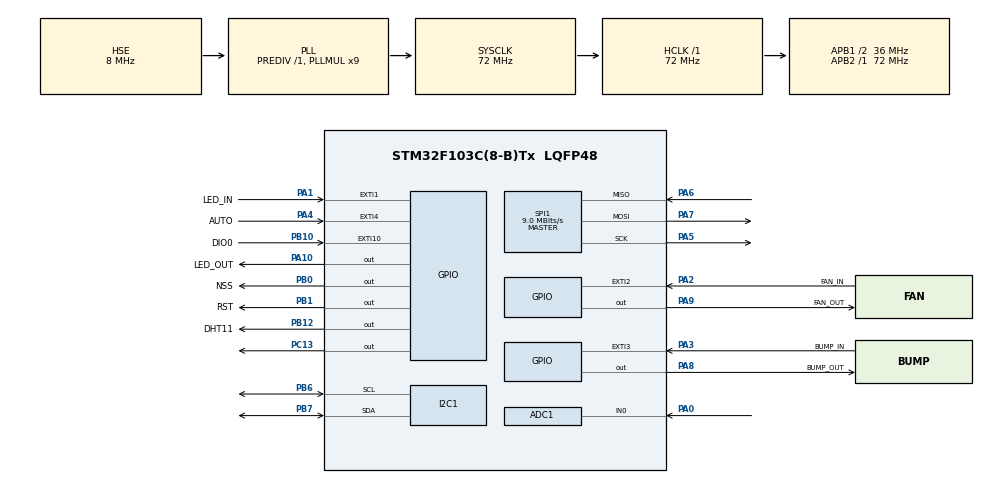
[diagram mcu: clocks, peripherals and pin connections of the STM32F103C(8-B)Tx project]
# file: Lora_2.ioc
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ADC1.Channel-0\#ChannelRegularConversion=ADC_CHANNEL_0
ADC1.ContinuousConvMode=ENABLE
ADC1.NbrOfConversionFlag=1
ADC1.Rank-0\#ChannelRegularConversion=1
ADC1.SamplingTime-0\#ChannelRegularConversion=ADC_SAMPLETIME_239CYCLES_5
ADC1.master=1
Dma.ADC1.0.Direction=DMA_PERIPH_TO_MEMORY
Dma.ADC1.0.Instance=DMA1_Channel1
Dma.ADC1.0.MemDataAlignment=DMA_MDATAALIGN_WORD
Dma.ADC1.0.MemInc=DMA_MINC_ENABLE
Dma.ADC1.0.Mode=DMA_CIRCULAR
Dma.ADC1.0.PeriphDataAlignment=DMA_PDATAALIGN_WORD
Dma.ADC1.0.PeriphInc=DMA_PINC_DISABLE
Dma.ADC1.0.Priority=DMA_PRIORITY_LOW
Dma.Request0=ADC1
I2C1.I2C_Mode=I2C_Fast
Mcu.Family=STM32F1
Mcu.Name=STM32F103C(8-B)Tx
Mcu.Package=LQFP48
NVIC.DMA1_Channel1_IRQn=true\:0\:0\:false\:false\:true\:false\:true\:true
NVIC.EXTI15_10_IRQn=true\:0\:0\:false\:false\:true\:true\:true\:true
NVIC.EXTI1_IRQn=true\:0\:0\:false\:false\:true\:true\:true\:true
NVIC.EXTI2_IRQn=true\:0\:0\:false\:false\:true\:true\:true\:true
NVIC.EXTI3_IRQn=true\:0\:0\:false\:false\:true\:true\:true\:true
NVIC.EXTI4_IRQn=true\:0\:0\:false\:false\:true\:true\:true\:true
NVIC.PriorityGroup=NVIC_PRIORITYGROUP_4
PA0-WKUP.Signal=ADCx_IN0
PA1.GPIO_Label=LED_IN
PA1.GPIO_ModeDefaultEXTI=GPIO_MODE_IT_RISING_FALLING
PA1.Signal=GPXTI1
PA10.GPIO_Label=LED_OUT
PA10.Signal=GPIO_Output
PA13.Mode=Serial_Wire
PA13.Signal=SYS_JTMS-SWDIO
PA14.Mode=Serial_Wire
PA14.Signal=SYS_JTCK-SWCLK
PA2.GPIO_Label=FAN_IN
PA2.GPIO_ModeDefaultEXTI=GPIO_MODE_IT_RISING_FALLING
PA2.Signal=GPXTI2
PA3.GPIO_Label=BUMP_IN
PA3.GPIO_ModeDefaultEXTI=GPIO_MODE_IT_RISING_FALLING
PA3.Signal=GPXTI3
PA4.GPIO_Label=AUTO
PA4.GPIO_ModeDefaultEXTI=GPIO_MODE_IT_RISING_FALLING
PA4.Signal=GPXTI4
PA5.Mode=Full_Duplex_Master
PA5.Signal=SPI1_SCK
PA6.Mode=Full_Duplex_Master
PA6.Signal=SPI1_MISO
PA7.Mode=Full_Duplex_Master
PA7.Signal=SPI1_MOSI
PA8.GPIO_Label=BUMP_OUT
PA8.Signal=GPIO_Output
PA9.GPIO_Label=FAN_OUT
PA9.Signal=GPIO_Output
PB0.GPIO_Label=NSS
PB0.PinState=GPIO_PIN_SET
PB0.Signal=GPIO_Output
PB1.GPIO_Label=RST
PB1.PinState=GPIO_PIN_SET
PB1.Signal=GPIO_Output
PB10.GPIO_Label=DIO0
PB10.Signal=GPXTI10
PB12.GPIO_Label=DHT11
PB12.Signal=GPIO_Output
PB6.Mode=I2C
PB6.Signal=I2C1_SCL
PB7.Mode=I2C
PB7.Signal=I2C1_SDA
PC13-TAMPER-RTC.Signal=GPIO_Output
PD0-OSC_IN.Mode=HSE-External-Oscillator
PD0-OSC_IN.Signal=RCC_OSC_IN
PD1-OSC_OUT.Mode=HSE-External-Oscillator
PD1-OSC_OUT.Signal=RCC_OSC_OUT
ProjectManager.HeapSize=0x200
ProjectManager.StackSize=0x400
ProjectManager.TargetToolchain=MDK-ARM V5.27
RCC.ADCPresc=RCC_ADCPCLK2_DIV6
RCC.AHBFreq_Value=72000000
RCC.APB1CLKDivider=RCC_HCLK_DIV2
RCC.APB1Freq_Value=36000000
RCC.APB1TimFreq_Value=72000000
RCC.APB2Freq_Value=72000000
RCC.APB2TimFreq_Value=72000000
RCC.HCLKFreq_Value=72000000
RCC.PLLMUL=RCC_PLL_MUL9
RCC.PLLSourceVirtual=RCC_PLLSOURCE_HSE
RCC.SYSCLKFreq_VALUE=72000000
RCC.SYSCLKSource=RCC_SYSCLKSOURCE_PLLCLK
RCC.USBFreq_Value=72000000
SH.ADCx_IN0.0=ADC1_IN0,IN0
SPI1.BaudRatePrescaler=SPI_BAUDRATEPRESCALER_8
SPI1.CalculateBaudRate=9.0 MBits/s
SPI1.Direction=SPI_DIRECTION_2LINES
SPI1.Mode=SPI_MODE_MASTER
SPI1.VirtualType=VM_MASTER
TIM4.Period=0xffff-1
TIM4.Prescaler=72-1
VP_TIM4_VS_ClockSourceINT.Mode=Internal
board=custom

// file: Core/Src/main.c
/* USER CODE BEGIN Header */
/**
  ******************************************************************************
  * @file           : main.c
  * @brief          : Main program body
  ******************************************************************************
  * @attention
  *
  * Copyright (c) 2022 STMicroelectronics.
  * All rights reserved.
  *
  * This software is licensed under terms that can be found in the LICENSE file
  * in the root directory of this software component.
  * If no LICENSE file comes with this software, it is provided AS-IS.
  *
  ******************************************************************************
  */
/* USER CODE END Header */
#include "main.h"

/* USER CODE BEGIN Includes */
#include "DHT.h"
#include "delay_timer.h"
#include "LoRa.h"
#include "i2c-lcd.h"
#include <stdio.h>
#include "EEPROM.h"
#include "BH1750.h"
/* USER CODE END Includes */

/* USER CODE BEGIN PD */
#define ID_Node 1
#define READ 	0
#define	WRITE	1
/* USER CODE END PD */

 ADC_HandleTypeDef hadc1;
DMA_HandleTypeDef hdma_adc1;

I2C_HandleTypeDef hi2c1;

SPI_HandleTypeDef hspi1;

TIM_HandleTypeDef htim4;

/* USER CODE BEGIN PV */
DHT_Name DHT1;

LoRa myLoRa;
uint8_t LoRa_stat = 0;

uint16_t HumiSoil;
uint32_t buffer;

uint8_t EEPROM_Data[10];

uint8_t receive_data[128];
uint8_t transmit_data[128];
uint8_t packet_size = 0;
uint8_t flgLoRa = 0;

uint16_t Lux;
uint8_t Lux_H;
uint8_t Lux_L;
uint8_t LuxUpper_H = 0;
uint8_t LuxUpper_L = 150;
uint8_t LuxLower_H = 0;
uint8_t LuxLower_L = 70;

uint8_t Auto=0;
uint8_t Bump=0;
uint8_t Fan=0;
uint8_t Led=0;
uint8_t TempUpper=30;
uint8_t	TempLower=20;
uint8_t HumiUpper=80;
uint8_t HumiLower=50;
uint16_t LuxUpper=150;
uint16_t LuxLower=75;
uint8_t HumiSoilUpper=60;
uint8_t HumiSoilLower=70;

/* USER CODE END PV */

void SystemClock_Config(void);
static void MX_GPIO_Init(void);
static void MX_DMA_Init(void);
static void MX_ADC1_Init(void);
static void MX_I2C1_Init(void);
static void MX_SPI1_Init(void);
static void MX_TIM4_Init(void);

/* USER CODE BEGIN 0 */
uint32_t map_lcd(uint32_t au32_IN, uint32_t au32_INmin, uint32_t au32_INmax, uint32_t au32_OUTmin, uint32_t au32_OUTmax);
void LoRa_ACK();
void Read_Eeprom();
void Write_Eeprom();
void Control();
/* USER CODE END 0 */

int main(void)
{
  /* USER CODE BEGIN 1 */
	char str[10];
	uint32_t Lcd_Tick;
	uint32_t Ctrl_Tick;

  /* USER CODE END 1 */

  /* MCU Configuration--------------------------------------------------------*/

  /* Reset of all peripherals, Initializes the Flash interface and the Systick. */
  HAL_Init();

  /* Configure the system clock */
  SystemClock_Config();

  /* Initialize all configured peripherals */
  MX_GPIO_Init();
  MX_DMA_Init();
  MX_ADC1_Init();
  MX_I2C1_Init();
  MX_SPI1_Init();
  MX_TIM4_Init();
  /* USER CODE BEGIN 2 */
	lcd_init();			//create LCD
	lcd_clear();		//clear LCD

	//create BH1750
	BH1750_device_t* test_dev = BH1750_init_dev_struct(&hi2c1, "test device", true);
  BH1750_init_dev(test_dev);

	DHT_Init(&DHT1, DHT11, &htim4, DHT11_GPIO_Port, DHT11_Pin);		//create DHT
	HAL_ADC_Start_DMA(&hadc1,&buffer,1);	//Start read TempSoil

//	Write_Eeprom();

	Read_Eeprom();

	myLoRa = newLoRa();

	myLoRa.CS_port         = NSS_GPIO_Port;
	myLoRa.CS_pin          = NSS_Pin;
	myLoRa.reset_port      = RST_GPIO_Port;
	myLoRa.reset_pin       = RST_Pin;
	myLoRa.DIO0_port       = DIO0_GPIO_Port;
	myLoRa.DIO0_pin        = DIO0_Pin;
	myLoRa.hSPIx           = &hspi1;

	if(LoRa_init(&myLoRa)==LORA_OK){
		LoRa_stat = 1;
		lcd_send_cmd(0x80|0x00);
		lcd_send_string("Lora OK");
		HAL_Delay(1000);
		lcd_send_cmd(0x80|0x00);
		lcd_send_string("       ");
	}

	//Receive from Gateway
	LoRa_startReceiving(&myLoRa);

	Lcd_Tick = HAL_GetTick() - 2000;
	Ctrl_Tick = HAL_GetTick() - 500;
  /* USER CODE END 2 */

  /* Infinite loop */
  while (1)
  {

    /* USER CODE BEGIN 3 */
		//LoRa receive
		if(flgLoRa == 1)
		{
			flgLoRa = 0;
			packet_size = LoRa_receive(&myLoRa, receive_data, 128);
			//Receive
			if(receive_data[0]== ID_Node)	//ID_Node
			{
				if(receive_data[1] == READ)
				{	Lux_H = Lux >> 8;
					Lux_L = Lux & 0xff;
					transmit_data[0] = ID_Node;
					transmit_data[1] = Auto;
					transmit_data[2] = Bump;
					transmit_data[3] = Fan;
					transmit_data[4] = Led;
					transmit_data[5] = DHT1.Temp;
					transmit_data[6] = DHT1.Humi;
					transmit_data[7] = Lux_H;
					transmit_data[8] = Lux_L;
					transmit_data[9] = HumiSoil;
					LoRa_transmit(&myLoRa, transmit_data, 10, 500);
					HAL_GPIO_TogglePin(GPIOC, GPIO_PIN_13);
				}
				else if(receive_data[1] == WRITE)
				{
					LoRa_ACK();
					Auto = receive_data[2];
					Bump = receive_data[3];
					Fan = receive_data[4];
					Led = receive_data[5];
					Control();
					//check update eeprom
					if((TempUpper != receive_data[6])||(TempLower != receive_data[7])||(HumiUpper != receive_data[8])||(HumiLower != receive_data[9])||(LuxUpper_H != receive_data[10])
						||(LuxUpper_L != receive_data[11])||(LuxLower_H != receive_data[12])||(LuxLower_L != receive_data[13])||(HumiSoilUpper != receive_data[14])||(HumiSoilLower != receive_data[15]))
					{
						if ((receive_data[6] != 0)||(receive_data[7] != 0)||(receive_data[8] != 0)||(receive_data[9] != 0)||(receive_data[10] != 0)
						||(receive_data[11] != 0)||(receive_data[12] != 0)||(receive_data[13] != 0)||(receive_data[14] != 0)||(receive_data[15] != 0))
						{
							TempUpper = receive_data[6];
							TempLower = receive_data[7];
							HumiUpper = receive_data[8];
							HumiLower = receive_data[9];
							LuxUpper_H = receive_data[10];
							LuxUpper_L = receive_data[11];
							LuxLower_H = receive_data[12];
							LuxLower_L = receive_data[13];
							HumiSoilUpper = receive_data[14];
							HumiSoilLower = receive_data[15];
							Write_Eeprom();
						}
					}
				}
			}
		}

		//Lcd
		if(HAL_GetTick() - Lcd_Tick >= 2000)
		{
			//Get tick
			Lcd_Tick = HAL_GetTick();

			lcd_send_cmd(0x80|0x00);
			lcd_send_string("TEMP: ");
			lcd_send_cmd(0x80|0x40);
			lcd_send_string("HUMI: ");
			lcd_send_cmd(0x80|0x0A);
			lcd_send_string("HSoil: ");
			lcd_send_cmd(0x80|0x4A);
			lcd_send_string("L: ");

			lcd_send_cmd(0x80|0x14);
			lcd_send_string("AUTO ");
			lcd_send_cmd(0x80|0x19);
			lcd_send_string("BUMP ");
			lcd_send_cmd(0x80|0x1E);
			lcd_send_string(" FAN ");
			lcd_send_cmd(0x80|0x23);
			lcd_send_string(" LED ");

			//DHT11
			if(!DHT_ReadTempHum(&DHT1))
			{
				lcd_send_cmd(0x80|0x06);
				sprintf(str, "%dC", DHT1.Temp);
				lcd_send_string(str);

				lcd_send_cmd(0x80|0x46);
				sprintf(str, "%d%%", DHT1.Humi);
				lcd_send_string(str);
			}

			//HumiSoil
			HumiSoil = 100 - map_lcd(buffer,0,4095,0,100);
//			HumiSoil = (uint16_t)(100 - 3.3*(buffer/(float)4095));
			lcd_send_cmd(0x80|0x11);
			sprintf(str, "%d%%", HumiSoil);
			lcd_send_string(str);

			//BH1750
			lcd_send_cmd(0x80|0x4D);
			lcd_send_string("       ");
			lcd_send_cmd(0x80|0x4C);
			sprintf(str, "%dLux", Lux);
			lcd_send_string(str);

		}

		//Controll in Node
		if(HAL_GetTick() - Ctrl_Tick >= 300)
		{
			//Get tick
			Ctrl_Tick = HAL_GetTick();

			//Update BH1750
			test_dev->poll(test_dev);
			Lux = test_dev->value;

			//Compare
			if(Auto == 1)
			{
				//Controll TempAir
				if(DHT1.Temp < TempLower)
				{
					Fan = 1;
					HAL_GPIO_WritePin(FAN_OUT_GPIO_Port, FAN_OUT_Pin, GPIO_PIN_SET);
				}
				else if(DHT1.Temp > TempUpper)
				{
					Fan = 0;
					HAL_GPIO_WritePin(FAN_OUT_GPIO_Port, FAN_OUT_Pin, GPIO_PIN_RESET);
				}

				//Controll HumiSoil
				HumiSoil = 100 - map_lcd(buffer, 0, 4095, 0, 100);
				if(HumiSoil < HumiSoilLower)
				{
					Bump = 1;
					HAL_GPIO_WritePin(BUMP_OUT_GPIO_Port, BUMP_OUT_Pin, GPIO_PIN_SET);
				}
				else if(HumiSoil > HumiSoilUpper)
				{
					Bump = 0;
					HAL_GPIO_WritePin(BUMP_OUT_GPIO_Port, BUMP_OUT_Pin, GPIO_PIN_RESET);
				}

				if(Lux < LuxLower)
				{
					Led = 1;
					HAL_GPIO_WritePin(LED_OUT_GPIO_Port, LED_OUT_Pin, GPIO_PIN_SET);
				}
				else if(Lux < LuxUpper)
				{
					Led = 0;
					HAL_GPIO_WritePin(LED_OUT_GPIO_Port, LED_OUT_Pin, GPIO_PIN_RESET);
				}

			}

			//Show status controll
			if(Auto == 0)
			{
				lcd_send_cmd(0x80|0x54);
				lcd_send_string(" OFF");
			}
			else
			{
				lcd_send_cmd(0x80|0x54);
				lcd_send_string(" ON ");
			}

			if(Bump == 0)
			{
				lcd_send_cmd(0x80|0x59);
				lcd_send_string(" OFF");
			}
			else
			{
				lcd_send_cmd(0x80|0x59);
				lcd_send_string(" ON ");
			}

			if(Fan == 0)
			{
				lcd_send_cmd(0x80|0x5E);
				lcd_send_string(" OFF");
			}
			else
			{
				lcd_send_cmd(0x80|0x5E);
				lcd_send_string(" ON ");
			}

			if(Led == 0)
			{
				lcd_send_cmd(0x80|0x63);
				lcd_send_string(" OFF");
			}
			else
			{
				lcd_send_cmd(0x80|0x63);
				lcd_send_string(" ON ");
			}
		}
	}
  /* USER CODE END 3 */
}

void SystemClock_Config(void)
{
  RCC_OscInitTypeDef RCC_OscInitStruct = {0};
  RCC_ClkInitTypeDef RCC_ClkInitStruct = {0};
  RCC_PeriphCLKInitTypeDef PeriphClkInit = {0};

  /** Initializes the RCC Oscillators according to the specified parameters
  * in the RCC_OscInitTypeDef structure.
  */
  RCC_OscInitStruct.OscillatorType = RCC_OSCILLATORTYPE_HSE;
  RCC_OscInitStruct.HSEState = RCC_HSE_ON;
  RCC_OscInitStruct.HSEPredivValue = RCC_HSE_PREDIV_DIV1;
  RCC_OscInitStruct.HSIState = RCC_HSI_ON;
  RCC_OscInitStruct.PLL.PLLState = RCC_PLL_ON;
  RCC_OscInitStruct.PLL.PLLSource = RCC_PLLSOURCE_HSE;
  RCC_OscInitStruct.PLL.PLLMUL = RCC_PLL_MUL9;
  if (HAL_RCC_OscConfig(&RCC_OscInitStruct) != HAL_OK)
  {
    Error_Handler();
  }

  /** Initializes the CPU, AHB and APB buses clocks
  */
  RCC_ClkInitStruct.ClockType = RCC_CLOCKTYPE_HCLK|RCC_CLOCKTYPE_SYSCLK
                              |RCC_CLOCKTYPE_PCLK1|RCC_CLOCKTYPE_PCLK2;
  RCC_ClkInitStruct.SYSCLKSource = RCC_SYSCLKSOURCE_PLLCLK;
  RCC_ClkInitStruct.AHBCLKDivider = RCC_SYSCLK_DIV1;
  RCC_ClkInitStruct.APB1CLKDivider = RCC_HCLK_DIV2;
  RCC_ClkInitStruct.APB2CLKDivider = RCC_HCLK_DIV1;

  if (HAL_RCC_ClockConfig(&RCC_ClkInitStruct, FLASH_LATENCY_2) != HAL_OK)
  {
    Error_Handler();
  }
  PeriphClkInit.PeriphClockSelection = RCC_PERIPHCLK_ADC;
  PeriphClkInit.AdcClockSelection = RCC_ADCPCLK2_DIV6;
  if (HAL_RCCEx_PeriphCLKConfig(&PeriphClkInit) != HAL_OK)
  {
    Error_Handler();
  }
}

static void MX_ADC1_Init(void)
{

  ADC_ChannelConfTypeDef sConfig = {0};

  /** Common config
  */
  hadc1.Instance = ADC1;
  hadc1.Init.ScanConvMode = ADC_SCAN_DISABLE;
  hadc1.Init.ContinuousConvMode = ENABLE;
  hadc1.Init.DiscontinuousConvMode = DISABLE;
  hadc1.Init.ExternalTrigConv = ADC_SOFTWARE_START;
  hadc1.Init.DataAlign = ADC_DATAALIGN_RIGHT;
  hadc1.Init.NbrOfConversion = 1;
  if (HAL_ADC_Init(&hadc1) != HAL_OK)
  {
    Error_Handler();
  }

  /** Configure Regular Channel
  */
  sConfig.Channel = ADC_CHANNEL_0;
  sConfig.Rank = ADC_REGULAR_RANK_1;
  sConfig.SamplingTime = ADC_SAMPLETIME_239CYCLES_5;
  if (HAL_ADC_ConfigChannel(&hadc1, &sConfig) != HAL_OK)
  {
    Error_Handler();
  }

}

static void MX_I2C1_Init(void)
{

  hi2c1.Instance = I2C1;
  hi2c1.Init.ClockSpeed = 400000;
  hi2c1.Init.DutyCycle = I2C_DUTYCYCLE_2;
  hi2c1.Init.OwnAddress1 = 0;
  hi2c1.Init.AddressingMode = I2C_ADDRESSINGMODE_7BIT;
  hi2c1.Init.DualAddressMode = I2C_DUALADDRESS_DISABLE;
  hi2c1.Init.OwnAddress2 = 0;
  hi2c1.Init.GeneralCallMode = I2C_GENERALCALL_DISABLE;
  hi2c1.Init.NoStretchMode = I2C_NOSTRETCH_DISABLE;
  if (HAL_I2C_Init(&hi2c1) != HAL_OK)
  {
    Error_Handler();
  }

}

static void MX_SPI1_Init(void)
{

  /* SPI1 parameter configuration*/
  hspi1.Instance = SPI1;
  hspi1.Init.Mode = SPI_MODE_MASTER;
  hspi1.Init.Direction = SPI_DIRECTION_2LINES;
  hspi1.Init.DataSize = SPI_DATASIZE_8BIT;
  hspi1.Init.CLKPolarity = SPI_POLARITY_LOW;
  hspi1.Init.CLKPhase = SPI_PHASE_1EDGE;
  hspi1.Init.NSS = SPI_NSS_SOFT;
  hspi1.Init.BaudRatePrescaler = SPI_BAUDRATEPRESCALER_8;
  hspi1.Init.FirstBit = SPI_FIRSTBIT_MSB;
  hspi1.Init.TIMode = SPI_TIMODE_DISABLE;
  hspi1.Init.CRCCalculation = SPI_CRCCALCULATION_DISABLE;
  hspi1.Init.CRCPolynomial = 10;
  if (HAL_SPI_Init(&hspi1) != HAL_OK)
  {
    Error_Handler();
  }

}

static void MX_TIM4_Init(void)
{

  TIM_ClockConfigTypeDef sClockSourceConfig = {0};
  TIM_MasterConfigTypeDef sMasterConfig = {0};

  htim4.Instance = TIM4;
  htim4.Init.Prescaler = 72-1;
  htim4.Init.CounterMode = TIM_COUNTERMODE_UP;
  htim4.Init.Period = 0xffff-1;
  htim4.Init.ClockDivision = TIM_CLOCKDIVISION_DIV1;
  htim4.Init.AutoReloadPreload = TIM_AUTORELOAD_PRELOAD_DISABLE;
  if (HAL_TIM_Base_Init(&htim4) != HAL_OK)
  {
    Error_Handler();
  }
  sClockSourceConfig.ClockSource = TIM_CLOCKSOURCE_INTERNAL;
  if (HAL_TIM_ConfigClockSource(&htim4, &sClockSourceConfig) != HAL_OK)
  {
    Error_Handler();
  }
  sMasterConfig.MasterOutputTrigger = TIM_TRGO_RESET;
  sMasterConfig.MasterSlaveMode = TIM_MASTERSLAVEMODE_DISABLE;
  if (HAL_TIMEx_MasterConfigSynchronization(&htim4, &sMasterConfig) != HAL_OK)
  {
    Error_Handler();
  }

}

static void MX_DMA_Init(void)
{

  /* DMA controller clock enable */
  __HAL_RCC_DMA1_CLK_ENABLE();

  /* DMA interrupt init */
  /* DMA1_Channel1_IRQn interrupt configuration */
  HAL_NVIC_SetPriority(DMA1_Channel1_IRQn, 0, 0);
  HAL_NVIC_EnableIRQ(DMA1_Channel1_IRQn);

}

static void MX_GPIO_Init(void)
{
  GPIO_InitTypeDef GPIO_InitStruct = {0};

  /* GPIO Ports Clock Enable */
  __HAL_RCC_GPIOC_CLK_ENABLE();
  __HAL_RCC_GPIOD_CLK_ENABLE();
  __HAL_RCC_GPIOA_CLK_ENABLE();
  __HAL_RCC_GPIOB_CLK_ENABLE();

  /*Configure GPIO pin Output Level */
  HAL_GPIO_WritePin(GPIOC, GPIO_PIN_13, GPIO_PIN_RESET);

  /*Configure GPIO pin Output Level */
  HAL_GPIO_WritePin(GPIOB, NSS_Pin|RST_Pin, GPIO_PIN_SET);

  /*Configure GPIO pin Output Level */
  HAL_GPIO_WritePin(DHT11_GPIO_Port, DHT11_Pin, GPIO_PIN_RESET);

  /*Configure GPIO pin Output Level */
  HAL_GPIO_WritePin(GPIOA, BUMP_OUT_Pin|FAN_OUT_Pin|LED_OUT_Pin, GPIO_PIN_RESET);

  /*Configure GPIO pin : PC13 */
  GPIO_InitStruct.Pin = GPIO_PIN_13;
  GPIO_InitStruct.Mode = GPIO_MODE_OUTPUT_PP;
  GPIO_InitStruct.Pull = GPIO_NOPULL;
  GPIO_InitStruct.Speed = GPIO_SPEED_FREQ_LOW;
  HAL_GPIO_Init(GPIOC, &GPIO_InitStruct);

  /*Configure GPIO pins : LED_IN_Pin FAN_IN_Pin BUMP_IN_Pin AUTO_Pin */
  GPIO_InitStruct.Pin = LED_IN_Pin|FAN_IN_Pin|BUMP_IN_Pin|AUTO_Pin;
  GPIO_InitStruct.Mode = GPIO_MODE_IT_RISING_FALLING;
  GPIO_InitStruct.Pull = GPIO_NOPULL;
  HAL_GPIO_Init(GPIOA, &GPIO_InitStruct);

  /*Configure GPIO pins : NSS_Pin RST_Pin DHT11_Pin */
  GPIO_InitStruct.Pin = NSS_Pin|RST_Pin|DHT11_Pin;
  GPIO_InitStruct.Mode = GPIO_MODE_OUTPUT_PP;
  GPIO_InitStruct.Pull = GPIO_NOPULL;
  GPIO_InitStruct.Speed = GPIO_SPEED_FREQ_LOW;
  HAL_GPIO_Init(GPIOB, &GPIO_InitStruct);

  /*Configure GPIO pin : DIO0_Pin */
  GPIO_InitStruct.Pin = DIO0_Pin;
  GPIO_InitStruct.Mode = GPIO_MODE_IT_RISING;
  GPIO_InitStruct.Pull = GPIO_NOPULL;
  HAL_GPIO_Init(DIO0_GPIO_Port, &GPIO_InitStruct);

  /*Configure GPIO pins : BUMP_OUT_Pin FAN_OUT_Pin LED_OUT_Pin */
  GPIO_InitStruct.Pin = BUMP_OUT_Pin|FAN_OUT_Pin|LED_OUT_Pin;
  GPIO_InitStruct.Mode = GPIO_MODE_OUTPUT_PP;
  GPIO_InitStruct.Pull = GPIO_NOPULL;
  GPIO_InitStruct.Speed = GPIO_SPEED_FREQ_LOW;
  HAL_GPIO_Init(GPIOA, &GPIO_InitStruct);

  /* EXTI interrupt init*/
  HAL_NVIC_SetPriority(EXTI1_IRQn, 0, 0);
  HAL_NVIC_EnableIRQ(EXTI1_IRQn);

  HAL_NVIC_SetPriority(EXTI2_IRQn, 0, 0);
  HAL_NVIC_EnableIRQ(EXTI2_IRQn);

  HAL_NVIC_SetPriority(EXTI3_IRQn, 0, 0);
  HAL_NVIC_EnableIRQ(EXTI3_IRQn);

  HAL_NVIC_SetPriority(EXTI4_IRQn, 0, 0);
  HAL_NVIC_EnableIRQ(EXTI4_IRQn);

  HAL_NVIC_SetPriority(EXTI15_10_IRQn, 0, 0);
  HAL_NVIC_EnableIRQ(EXTI15_10_IRQn);

}

/* USER CODE BEGIN 4 */
uint32_t map_lcd(uint32_t au32_IN, uint32_t au32_INmin, uint32_t au32_INmax, uint32_t au32_OUTmin, uint32_t au32_OUTmax)
{
	return ((((au32_IN - au32_INmin)*(au32_OUTmax - au32_OUTmin))/(au32_INmax - au32_INmin)) + au32_OUTmin);
}

//Control
void Control()
{
	if (Auto ==0)
	{

			HAL_GPIO_WritePin(BUMP_OUT_GPIO_Port, BUMP_OUT_Pin, Bump);

			HAL_GPIO_WritePin(FAN_OUT_GPIO_Port, FAN_OUT_Pin, Fan);

			HAL_GPIO_WritePin(LED_OUT_GPIO_Port, LED_OUT_Pin, Led);

	}
}

//Interrupt Lora receive and button
void HAL_GPIO_EXTI_Callback(uint16_t GPIO_Pin)
{
	uint8_t Auto_temp;
	uint8_t Bump_temp;
	uint8_t Fan_temp;
	uint8_t Led_temp;

	if(GPIO_Pin == DIO0_Pin)
	{
		flgLoRa = 1;

		HAL_GPIO_WritePin(BUMP_OUT_GPIO_Port, BUMP_OUT_Pin, Bump);
		Bump_temp = HAL_GPIO_ReadPin(BUMP_IN_GPIO_Port, BUMP_IN_Pin);
		Fan_temp = HAL_GPIO_ReadPin(FAN_IN_GPIO_Port, FAN_IN_Pin);
		Led_temp = HAL_GPIO_ReadPin(LED_IN_GPIO_Port, LED_IN_Pin);
	}
	else if(GPIO_Pin == AUTO_Pin)
	{
		Auto_temp = HAL_GPIO_ReadPin(AUTO_GPIO_Port, AUTO_Pin);
		if(Auto_temp == GPIO_PIN_SET)
		{
			Auto = 0;

			Bump_temp = HAL_GPIO_ReadPin(BUMP_IN_GPIO_Port, BUMP_IN_Pin);
			if(Bump_temp == GPIO_PIN_RESET)
			{
				Bump = 1;
				HAL_GPIO_WritePin(BUMP_OUT_GPIO_Port, BUMP_OUT_Pin, GPIO_PIN_SET);
			}
			else
			{
				Bump = 0;
				HAL_GPIO_WritePin(BUMP_OUT_GPIO_Port, BUMP_OUT_Pin, GPIO_PIN_RESET);
			}

			Fan_temp = HAL_GPIO_ReadPin(FAN_IN_GPIO_Port, FAN_IN_Pin);
			if(Fan_temp == GPIO_PIN_RESET)
			{
				Fan = 1;
				HAL_GPIO_WritePin(FAN_OUT_GPIO_Port, FAN_OUT_Pin, GPIO_PIN_SET);
			}
			else
			{
				Fan = 0;
				HAL_GPIO_WritePin(FAN_OUT_GPIO_Port, FAN_OUT_Pin, GPIO_PIN_RESET);
			}

			Led_temp = HAL_GPIO_ReadPin(LED_IN_GPIO_Port, LED_IN_Pin);
			if(Led_temp == GPIO_PIN_RESET)
			{
				Led = 1;
				HAL_GPIO_WritePin(LED_OUT_GPIO_Port, LED_OUT_Pin, GPIO_PIN_SET);
			}
			else
			{
				Led = 0;
				HAL_GPIO_WritePin(LED_OUT_GPIO_Port, LED_OUT_Pin, GPIO_PIN_RESET);
			}
		}
		else
		{
			Auto = 1;
		}
	}
	else
	{
		if(Auto == 0)
		{
			if(GPIO_Pin == BUMP_IN_Pin)
			{
				Bump_temp = HAL_GPIO_ReadPin(BUMP_IN_GPIO_Port, BUMP_IN_Pin);
				if(Bump_temp == GPIO_PIN_RESET)
				{
					Bump = 1;
					HAL_GPIO_WritePin(BUMP_OUT_GPIO_Port, BUMP_OUT_Pin, GPIO_PIN_SET);
				}
				else
				{
					Bump = 0;
					HAL_GPIO_WritePin(BUMP_OUT_GPIO_Port, BUMP_OUT_Pin, GPIO_PIN_RESET);
				}
			}
			else if(GPIO_Pin == FAN_IN_Pin)
			{
				Fan_temp = HAL_GPIO_ReadPin(FAN_IN_GPIO_Port, FAN_IN_Pin);
				if(Fan_temp == GPIO_PIN_RESET)
				{
					Fan = 1;
					HAL_GPIO_WritePin(FAN_OUT_GPIO_Port, FAN_OUT_Pin, GPIO_PIN_SET);
				}
				else
				{
					Fan = 0;
					HAL_GPIO_WritePin(FAN_OUT_GPIO_Port, FAN_OUT_Pin, GPIO_PIN_RESET);
				}
			}
			else if(GPIO_Pin == LED_IN_Pin)
			{
				Led_temp = HAL_GPIO_ReadPin(LED_IN_GPIO_Port, LED_IN_Pin);
				if(Led_temp == GPIO_PIN_RESET)
				{
					Led = 1;
					HAL_GPIO_WritePin(LED_OUT_GPIO_Port, LED_OUT_Pin, GPIO_PIN_SET);
				}
				else
				{
					Led = 0;
					HAL_GPIO_WritePin(LED_OUT_GPIO_Port, LED_OUT_Pin, GPIO_PIN_RESET);
				}
			}
		}
	}
}

void LoRa_ACK()
{
	transmit_data[0] = ID_Node;
	transmit_data[1] = 255;
	LoRa_transmit(&myLoRa, transmit_data, 2, 300);
}

void Read_Eeprom()
{
	//Read data threshold from eeprom
	EEPROM_Read(4,0,EEPROM_Data,10);

	TempUpper = EEPROM_Data[0];
	TempLower = EEPROM_Data[1];
	HumiUpper = EEPROM_Data[2];
	HumiLower = EEPROM_Data[3];
	LuxUpper_H = EEPROM_Data[4];
	LuxUpper_L = EEPROM_Data[5];
	LuxLower_H = EEPROM_Data[6];
	LuxLower_L = EEPROM_Data[7];
	HumiSoilUpper = EEPROM_Data[8];
	HumiSoilLower = EEPROM_Data[9];
	LuxUpper = (((uint16_t)LuxUpper_H) << 8) | ((uint16_t)LuxUpper_L);
	LuxLower = (((uint16_t)LuxLower_H) << 8) | ((uint16_t)LuxLower_L);

}

void Write_Eeprom()
{
	LuxUpper = (((uint16_t)LuxUpper_H) << 8) | ((uint16_t)LuxUpper_L);
	LuxLower = (((uint16_t)LuxLower_H) << 8) | ((uint16_t)LuxLower_L);
	//Read data threshold from eeprom
	EEPROM_Data[0] = TempUpper;
	EEPROM_Data[1] = TempLower;
	EEPROM_Data[2] = HumiUpper;
	EEPROM_Data[3] = HumiLower;
	EEPROM_Data[4] = LuxUpper_H;
	EEPROM_Data[5] = LuxUpper_L;
	EEPROM_Data[6] = LuxLower_H;
	EEPROM_Data[7] = LuxLower_L;
	EEPROM_Data[8] = HumiSoilUpper;
	EEPROM_Data[9] = HumiSoilLower;

	EEPROM_Write(4,0,EEPROM_Data,10);
}

/* USER CODE END 4 */

void Error_Handler(void)
{
  __disable_irq();
  while (1)
  {
  }
}
